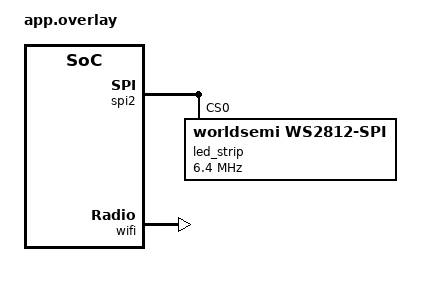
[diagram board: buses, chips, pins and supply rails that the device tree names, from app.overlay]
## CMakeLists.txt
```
cmake_minimum_required(VERSION 3.20.0)

find_package(Zephyr)
project(Orio)

target_sources(app PRIVATE src/main.c)
```

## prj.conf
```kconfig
CONFIG_GPIO=y
CONFIG_LED_STRIP=y

# Enable logging system
CONFIG_LOG=y

#CONFIG_LOG_DEFAULT_LEVEL=4 
# 0=Off, 1=Error, 2=Warning, 3=Info, 4=Debug

# Use UART0 for console output (redirects to USB-JTAG)
CONFIG_SERIAL=y
CONFIG_UART_CONSOLE=y
CONFIG_LOG_BACKEND_UART=y

CONFIG_LOG_MODE_DEFERRED=y

# Wi-Fi Configuration
CONFIG_WIFI=y

# Network Configuration
CONFIG_NET_CONFIG_AUTO_INIT=n
CONFIG_NET_CONNECTION_MANAGER=y
CONFIG_NET_DHCPV4=y
CONFIG_NET_IF_MAX_IPV4_COUNT=2
CONFIG_NET_IPV4=y
CONFIG_NET_L2_ETHERNET=y
CONFIG_NET_L2_WIFI_MGMT=y
CONFIG_NET_MGMT=y
CONFIG_NET_MGMT_EVENT=y
CONFIG_NET_MGMT_EVENT_INFO=y
CONFIG_NET_MGMT_EVENT_QUEUE_SIZE=10
CONFIG_NET_MGMT_EVENT_STACK_SIZE=4096
CONFIG_NET_PKT_RX_COUNT=16
CONFIG_NET_PKT_TX_COUNT=16
CONFIG_NET_SOCKETS_SERVICE_STACK_SIZE=4096
CONFIG_NET_TCP=y
CONFIG_NET_UDP=y
CONFIG_NETWORKING=y


CONFIG_DNS_RESOLVER=y
# Enable additional buffers
CONFIG_DNS_RESOLVER_ADDITIONAL_BUF_CTR=5
# Enable additional queries
CONFIG_DNS_RESOLVER_ADDITIONAL_QUERIES=2

CONFIG_DNS_RESOLVER_MAX_SERVERS=2
CONFIG_DNS_SERVER_IP_ADDRESSES=y
CONFIG_DNS_NUM_CONCUR_QUERIES=5

#CONFIG_DNS_SERVER1="8.8.8.8"

# SNTP
CONFIG_SNTP=y

# Enable POSIX APIs (required for clock_settime and clock_gettime)
CONFIG_POSIX_API=y

CONFIG_LOG_TIMESTAMP_64BIT=y

 #CONFIG_POSIX_API=y

# LOG Configuration
# CONFIG_LOG=y
# CONFIG_NET_LOG=y

CONFIG_WIFI_ESP32=y
CONFIG_ESP32_WIFI_STA_AUTO_DHCPV4=y
CONFIG_ESP32_WIFI_AP_STA_MODE=y
CONFIG_WIFI_NM=y
CONFIG_WIFI_NM_MAX_MANAGED_INTERFACES=2
```

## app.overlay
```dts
#include <zephyr/dt-bindings/led/led.h>

&spi2 {
	/* Workaround to support WS2812 driver */
	line-idle-low;

	led_strip: ws2812@0 {
		compatible = "worldsemi,ws2812-spi";

		/* SPI */
		reg = <0>; /* ignored, but necessary for SPI bindings */
		spi-max-frequency = <6400000>;

		/* WS2812 */
		chain-length = <1>; /* arbitrary; change at will */
		spi-cpha;
		spi-one-frame = <0xf0>; /* 11110000: 625 ns high and 625 ns low */
		spi-zero-frame = <0xc0>; /* 11000000: 312.5 ns high and 937.5 ns low */
		color-mapping = <LED_COLOR_ID_GREEN
				 LED_COLOR_ID_RED
				 LED_COLOR_ID_BLUE>;
	};
};

&pinctrl {
	spim2_default: spim2_default {
		group2 {
			pinmux = <SPIM2_MOSI_GPIO3>;
		};
	};
};

/ {
	aliases {
		led-strip = &led_strip;
	};
};

/ {
    chosen {
        zephyr,console = &usb_serial;
        zephyr,shell-uart = &usb_serial;
    };
};

&wifi {
	status = "okay";
};

/ {
	wifi_ap: wifi_ap {
		compatible = "espressif,esp32-wifi";
		status = "okay";
	};
};
```

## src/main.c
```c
#include <stdio.h>
#include <string.h>
#include <zephyr/kernel.h>
//LED
#include <zephyr/drivers/gpio.h>
#include <zephyr/drivers/led_strip.h>
//LOG
#include <zephyr/logging/log.h>
#include <zephyr/logging/log_ctrl.h>
//WIFI
#include <zephyr/net/wifi_mgmt.h>
#include <esp_wifi.h>
#include "secret.h"
//NETWORK
#include <zephyr/net/net_if.h>
#include <zephyr/net/net_core.h>
#include <zephyr/net/net_mgmt.h>
#include <zephyr/net/socket_service.h>
#include <zephyr/net/socket.h>
#include <arpa/inet.h>
//dhcp
#include <zephyr/net/dhcpv4.h>
//dns
#include <zephyr/net/dns_resolve.h>
//sntp
#include <zephyr/net/sntp.h>

#include <time.h>
#include <zephyr/posix/posix_types.h>
#include <zephyr/posix/signal.h>
#include <sys/timespec.h>

LOG_MODULE_REGISTER(main, LOG_LEVEL_DBG);

//LED
#define STRIP_NODE		DT_ALIAS(led_strip)
#define RGB(_r, _g, _b) { .r = (_r), .g = (_g), .b = (_b) }

#define USR_LED_RED 0
#define USR_LED_GREEN 1
#define USR_LED_BLUE 2

#if DT_NODE_HAS_PROP(DT_ALIAS(led_strip), chain_length)
#define STRIP_NUM_PIXELS	DT_PROP(DT_ALIAS(led_strip), chain_length)
#else
#error Unable to determine length of LED strip
#endif

//NETWORK
//wifi
#define MACSTR "%02X:%02X:%02X:%02X:%02X:%02X"

//Subscribe to the event you want to receive in the callback
#define NET_EVENT_WIFI_MASK (NET_EVENT_WIFI_CONNECT_RESULT | NET_EVENT_WIFI_DISCONNECT_RESULT | NET_EVENT_IPV4_ADDR_ADD)

//ntp
#define NTP_SERVER "pool.ntp.org"

//LED
static struct led_rgb colors[] = {
	RGB(0x08, 0x00, 0x00), /* red */
	RGB(0x00, 0x08, 0x00), /* green */
	RGB(0x00, 0x00, 0x08), /* blue */
};

static const struct device *const strip = DEVICE_DT_GET(STRIP_NODE);

//NETWORK
static struct net_if *sta_iface;

//wifi
static struct wifi_connect_req_params sta_config;

static struct net_mgmt_event_callback wifi_cb;
static struct net_mgmt_event_callback ipv4_cb;

static bool wifi_connected = false;

//sntp
struct sockaddr sntp_addr;
socklen_t sntp_addrlen;
bool sntp_addr_received = false;

static void wifi_event_handler(struct net_mgmt_event_callback *cb, uint32_t mgmt_event, struct net_if *iface)
{
	//Handle the previously subscribed events
	switch (mgmt_event) {
	case NET_EVENT_WIFI_CONNECT_RESULT: {
		wifi_connected = true;
		LOG_INF("Connected to %s", WIFI_SSID);
		led_strip_update_rgb(strip, &colors[USR_LED_GREEN], STRIP_NUM_PIXELS);
		break;
	}
	case NET_EVENT_WIFI_DISCONNECT_RESULT: {
		wifi_connected = false;
		LOG_INF("Disconnected from %s", WIFI_SSID);
		led_strip_update_rgb(strip, &colors[USR_LED_RED], STRIP_NUM_PIXELS);
		break;
	}
	default:
		break;
	}
}

static void ipv4_event_handler(struct net_mgmt_event_callback *cb, uint32_t mgmt_event, struct net_if *iface) {
    if (mgmt_event == NET_EVENT_IPV4_ADDR_ADD) {
        
		for (int i = 0; i < NET_IF_MAX_IPV4_ADDR; i++) {
			char buf[NET_IPV4_ADDR_LEN];

			if (iface->config.ip.ipv4->unicast[i].ipv4.addr_type != NET_ADDR_DHCP) {
				continue;
			}

			LOG_INF("   Address[%d]: %s", net_if_get_by_iface(iface), net_addr_ntop(AF_INET, &iface->config.ip.ipv4->unicast[i].ipv4.address.in_addr, buf, sizeof(buf)));
			LOG_INF("    Subnet[%d]: %s", net_if_get_by_iface(iface), net_addr_ntop(AF_INET, &iface->config.ip.ipv4->unicast[i].netmask, buf, sizeof(buf)));
			LOG_INF("    Router[%d]: %s", net_if_get_by_iface(iface), net_addr_ntop(AF_INET, &iface->config.ip.ipv4->gw, buf, sizeof(buf)));
			LOG_INF("Lease time[%d]: %u seconds", net_if_get_by_iface(iface), iface->config.dhcpv4.lease_time);
		}
    }
}

static int connect_to_wifi(void)
{
	//Make sure the interface was previously created by the user
	if (!sta_iface) {
		LOG_INF("STA: interface no initialized");
		return -EIO;
	}

	//Configure the wifi connection
	sta_config.ssid = (const uint8_t *)WIFI_SSID;
	sta_config.ssid_length = strlen(WIFI_SSID);
	sta_config.psk = (const uint8_t *)WIFI_PSK;
	sta_config.psk_length = strlen(WIFI_PSK);
	sta_config.security = WIFI_SECURITY_TYPE_PSK;
	sta_config.channel = WIFI_CHANNEL_ANY;
	sta_config.band = WIFI_FREQ_BAND_2_4_GHZ;

	//Request the wifi connection
	LOG_INF("Connecting to SSID: %s", sta_config.ssid);
	int ret = net_mgmt(NET_REQUEST_WIFI_CONNECT, sta_iface, &sta_config, sizeof(struct wifi_connect_req_params));
	
	//Check for errors
	if (ret) {
		LOG_ERR("Unable to Connect to (%s)", WIFI_SSID);
	} else {

		//Exit the espressif wifi PowerSave mode
		if (esp_wifi_set_ps(WIFI_PS_NONE)){
			LOG_ERR("ESP32_API: Unable to disable power saving");
		} else {
			LOG_INF("ESP32_API: Power saving disabled");
		} 
	}
	return ret;
}

static void get_wifi_rssi(void)
{
    struct wifi_iface_status status = {0};

    if (net_mgmt(NET_REQUEST_WIFI_IFACE_STATUS, sta_iface, &status, sizeof(status)) == 0) {
		LOG_INF("RSSI: %d dBm", status.rssi);
    } else {
        LOG_ERR("Failed to get Wi-Fi status");
    }
}

void dns_result_cb(enum dns_resolve_status status, struct dns_addrinfo *info, void *user_data)
{
	char hr_addr[NET_IPV6_ADDR_LEN];
	char *hr_family;
	void *addr;

	switch (status) {
	case DNS_EAI_CANCELED:
		LOG_INF("DNS query was canceled");
		return;
	case DNS_EAI_FAIL:
		LOG_INF("DNS resolve failed");
		return;
	case DNS_EAI_NODATA:
		LOG_INF("Cannot resolve address");
		return;
	case DNS_EAI_ALLDONE:
		LOG_INF("DNS resolving finished");
		return;
	case DNS_EAI_INPROGRESS:
		break;
	default:
		LOG_INF("DNS resolving error (%d)", status);
		return;
	}

	if (!info) {
		return;
	}

	if (info->ai_family == AF_INET) {
		hr_family = "IPv4";
		addr = &net_sin(&info->ai_addr)->sin_addr;

		if (!strcmp(user_data, NTP_SERVER) && !sntp_addr_received) {
			LOG_INF("Received ntp server");

			//Update sntp param
			sntp_addr = info->ai_addr;
			sntp_addrlen = info->ai_addrlen;

			net_sin(&sntp_addr)->sin_port = htons(123);

			sntp_addr_received = true;
		}

	} else if (info->ai_family == AF_INET6) {
		hr_family = "IPv6";
		addr = &net_sin6(&info->ai_addr)->sin6_addr;
	} else {
		LOG_ERR("Invalid IP address family %d", info->ai_family);
		return;
	}

	LOG_INF("%s %s address: %s", user_data ? (char *)user_data : "<null>", hr_family, net_addr_ntop(info->ai_family, addr, hr_addr, sizeof(hr_addr)));
}

static void do_ipv4_lookup(void)
{
	static const char *query = NTP_SERVER;
	static uint16_t dns_id;
	int ret;

	ret = dns_get_addr_info(query, DNS_QUERY_TYPE_A, &dns_id, dns_result_cb, (void *)query, 2000);
	if (ret < 0) {
		LOG_ERR("Cannot resolve IPv4 address (%d)", ret);
		return;
	}
}

static void do_sntp(int family)
{
	char *family_str = family == AF_INET ? "IPv4" : "IPv6";
	struct sntp_time s_time;
	struct sntp_ctx ctx;
	int rv;

	rv = sntp_init(&ctx, &sntp_addr, sntp_addrlen);
	if (rv < 0) {
		LOG_ERR("Failed to init SNTP %s ctx: %d", family_str, rv);
		sntp_close(&ctx);
	}

	LOG_INF("Sending SNTP %s request...", family_str);
	rv = sntp_query(&ctx, 4 * MSEC_PER_SEC, &s_time);
	if (rv < 0) {
		LOG_ERR("SNTP %s request failed: %d", family_str, rv);
		sntp_close(&ctx);
	}

	LOG_INF("SNTP Time: %llu", s_time.seconds);

	struct timespec ts = {
		.tv_sec = s_time.seconds,
		.tv_nsec = 0
	};

	int ret = clock_settime(1, &ts);
	if (ret != 0) {
		LOG_ERR( "Failed to set time (error %d)", ret);
	}

	sntp_close(&ctx);
}

// static uint64_t custom_timestamp(void) {

// }

int main(void)
{
	// log_set_timestamp_func(custom_timestamp, 1000000);

	printk("_______       _____\n"); 
	printk("__  __ \\_________(_)_____\n");
	printk("_  / / /_  ___/_  /_  __ \\\n");
	printk("/ /_/ /_  /   _  / / /_/ /\n");
	printk("\\____/ /_/    /_/  \\____/\n");
	printk("Orio is booting up...\n");

	//Setup the led and set it blue
	if (device_is_ready(strip)) {
		LOG_INF("LED is ready");
	} else {
		LOG_ERR("LED is not ready");
		return 0;
	}

	for(uint8_t i = 0; i < 2; i++){
		led_strip_update_rgb(strip, &colors[USR_LED_BLUE], STRIP_NUM_PIXELS);
	}

	/* Register wifi callback */
    net_mgmt_init_event_callback(&wifi_cb, wifi_event_handler, NET_EVENT_WIFI_CONNECT_RESULT | NET_EVENT_WIFI_DISCONNECT_RESULT);
    net_mgmt_add_event_callback(&wifi_cb);

    /* Register IPv4 callback */
    net_mgmt_init_event_callback(&ipv4_cb, ipv4_event_handler, NET_EVENT_IPV4_ADDR_ADD);
    net_mgmt_add_event_callback(&ipv4_cb);

	//Get wifi interface and connect
	sta_iface = net_if_get_wifi_sta();
	connect_to_wifi();

	//Wait for connection
	while(!wifi_connected){
		k_sleep(K_MSEC(100));
	}

	do_ipv4_lookup();

	while (!sntp_addr_received) {
		k_sleep(K_MSEC(100));
	}

	do_sntp(AF_INET);

	struct net_if *iface = net_if_get_default();

    if (!iface) {
        LOG_ERR("Network is not ready");
    } else {
		LOG_INF("Network is ready");
	}

	struct timespec ts_get;

	while (1) {
		k_sleep(K_MSEC(2000));
		
		if (wifi_connected) {
			get_wifi_rssi();
		}

		if (clock_gettime(CLOCK_REALTIME, &ts_get) == 0) {
			LOG_INF("System time: Sec_%lld nSec_%ld", ts_get.tv_sec, ts_get.tv_nsec);
		} else {
			LOG_ERR("Can't get system time");
		}
	}
	
	LOG_INF("Exit main");
	return 0;
}
```
